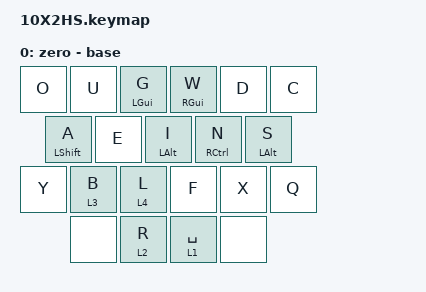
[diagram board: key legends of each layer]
#include <behaviors.dtsi>
#include <dt-bindings/zmk/keys.h>
#include <dt-bindings/zmk/bt.h>
#include <dt-bindings/zmk/pointing.h>

#define ZMK_POINTING_DEFAULT_MOVE_VAL 1200  // default: 600
#define AS(keycode) &as LS(keycode) keycode   

/ {
	macros {
        	qu: qu {
            		compatible = "zmk,behavior-macro";
            		#binding-cells = <0>;
            		bindings
                	= <&macro_tap &kp Q &kp U>
                	;
        	};
		ps: ps {
            		compatible = "zmk,behavior-macro";
            		#binding-cells = <0>;
            		bindings
                	= <&macro_tap &kp P &kp S>
                	;
        	};
    	};
	behaviors {
		td0: tap_dance_parentheseseseses {
			compatible = "zmk,behavior-tap-dance";
			#binding-cells = <0>;
			tapping-term-ms = <225>;
			bindings = <&kp LPAR>, <&kp RPAR>;
		};
		td1: tap_dance_braces {
			compatible = "zmk,behavior-tap-dance";
			#binding-cells = <0>;
			tapping-term-ms = <225>;
			bindings = <&kp LBRC>,<&kp RBRC>;
		};
		td2: tap_dance_brackets {
			compatible = "zmk,behavior-tap-dance";
			#binding-cells = <0>;
			tapping-term-ms = <225>;
			bindings = <&kp LBKT>,<&kp RBKT>;
		};
		td3: tap_dance_tabesc {
			compatible = "zmk,behavior-tap-dance";
			#binding-cells = <0>;
			tapping-term-ms = <225>;
			bindings = <&kp TAB>,<&kp ESC>;
		};
		td4: tap_dance_cx {
			compatible = "zmk,behavior-tap-dance";
			#binding-cells = <0>;
			tapping-term-ms = <225>;
			bindings = <&kp C>,<&kp X>;
		};
		td5: tap_dance_fg {
			compatible = "zmk,behavior-tap-dance";
			#binding-cells = <0>;
			tapping-term-ms = <225>;
			bindings = <&kp F>,<&kp G>;
		};
		hml: home_row_mod_left {
            		compatible = "zmk,behavior-hold-tap";
            		#binding-cells = <2>;
            		flavor = "balanced";
            		require-prior-idle-ms = <100>;
            		tapping-term-ms = <250>;
            		quick-tap-ms = <175>;
            		bindings = <&kp>, <&kp>;
            		hold-trigger-key-positions = <3 4 5 10 11 12 13 16 17 20 21>; // List of keys on the right
            		hold-trigger-on-release;
        	};
        	hmr: home_row_mod_right {
            		compatible = "zmk,behavior-hold-tap";
            		#binding-cells = <2>;
            		flavor = "balanced";
            		require-prior-idle-ms = <100>;
            		tapping-term-ms = <250>;
            		quick-tap-ms = <175>;
            		bindings = <&kp>, <&kp>;
            		hold-trigger-key-positions = <0 1 2 6 7 8 9 14 15 18 19>; // List of keys on the left
            		hold-trigger-on-release;
        	};
		as: auto_shift {
            		compatible = "zmk,behavior-hold-tap";
            		#binding-cells = <2>;
            		tapping_term_ms = <175>;
            		quick_tap_ms = <0>;
            		flavor = "tap-preferred";
            		bindings = <&kp>, <&kp>;
        	};
		hw_soft_off: hw_soft_off {
            		compatible = "zmk,behavior-soft-off";
            		#binding-cells = <0>;
            		split-peripheral-off-on-press; // Turn peripheral off immediately for reliability
            		hold-time-ms = <1500>; // Only turn off if the key is held for 1.5 seconds or longer.
        	};
		fmt: fast_mod_tap {
        		compatible = "zmk,behavior-hold-tap";
            		#binding-cells = <2>;
            		flavor = "hold-preferred";
            		tapping-term-ms = <125>;
            		bindings = <&kp>, <&kp>;
            		display-name = "Fast Mod-Tap";
        	};
		mt: mod_tap {
            		tapping-term-ms = <200>;
        	};
	};
	keymap {
		compatible = "zmk,keymap";
		zero {
			display-name = "zero - base";
			bindings = <
				&kp O 				&kp U 	&hml LGUI G 		&hmr RGUI W		&kp D &kp C
				&hml LSHIFT A &kp E 	&hml LALT I 		&hmr RCTRL N	&hmr LALT S
				&kp Y &lt 3 B &lt 4 L &kp F						&kp X					&kp Q		 
				                       &none &lt 2 R		&lt 1 SPACE &none
			>;
		};
	};
};

/ {
	combos {
		compatible = "zmk,combos";

// game combos
		combo_1_game {
			timeout-ms = <90>;
			key-positions = <0 19>;
			bindings = <&kp N1>;
			layers = <7 9>;
		};
		combo_3_game {
			timeout-ms = <90>;
			key-positions = <2 19>;
			bindings = <&kp N3>;
			layers = <7 9>;
		};
		combo_4_game {
			timeout-ms = <90>;
			key-positions = <7 9>;
			bindings = <&kp N4>;
			layers = <7>;
		};
		combo_b_game {
			timeout-ms = <90>;
			key-positions = <14 15>;
			bindings = <&kp B>;
			layers = <7 8 9>;
		};
		combo_k_game {
			timeout-ms = <90>;
			key-positions = <6 19>;
			bindings = <&kp K>;
			layers = <7 8 9>;
		};
		combo_y_game {
			timeout-ms = <90>;
			key-positions = <6 19>;
			bindings = <&kp Y>;
			layers = <8>;
		};
// keyboard functions
		combo_bt_one {
			timeout-ms = <50>;
			key-positions = <6 7 8 9>;
			bindings = <&bt BT_SEL 0>;
			layers = <0>;
		};
		combo_bt_two {
			timeout-ms = <50>;
			key-positions = <10 11 12 13>;
			bindings = <&bt BT_SEL 1>;
			layers = <0>;
		};
		combo_mouse_layer {
			timeout-ms = <50>;
			key-positions = <19 20>;
			bindings = <&to 3>;
			layers = <0>;
		};
		combo_val_layer {
			timeout-ms = <50>;
			key-positions = <7 8 9>;
			bindings = <&to 7>;
			layers = <0>;
		};
		combo_qwer_layer {
			timeout-ms = <50>;
			key-positions = <6 7 9>;
			bindings = <&to 8>;
			layers = <0>;
		};
		combo_apex_layer {
			timeout-ms = <50>;
			key-positions = <1 7 9>;
			bindings = <&to 9>;
			layers = <0>;
		};
		combo_default_layer {
			timeout-ms = <50>;
			key-positions = <8 9 10 11>;
			bindings = <&to 0>;
		};
// mod keys
		combo_del {
			timeout-ms = <50>;
			key-positions = <6 7>;
			bindings = <&kp DEL>;
			layers = <0 1 2>;
		};
		combo_tab {
			timeout-ms = <50>;
			key-positions = <0 2>;
			bindings = <&kp TAB>;
		};
		combo_esc {
			timeout-ms = <50>;
			key-positions = <3 5>;
			bindings = <&kp ESC>;
		};
		combo_backspace {
			timeout-ms = <50>;
			key-positions = <12 13>;
			bindings = <&kp BSPC>;
			layers = <0 1 2>;
		};
		combo_enter {
			timeout-ms = <50>;
			key-positions = <9 10>;
			bindings = <&kp ENTER>;
			layers = <0 1 2>;
		};
		combo_capsword {
			timeout-ms = <50>;
			key-positions = <6 13>;
			bindings = <&caps_word>;
			layers = <0>;
		};

// arrow keys
		combo_up {
			timeout-ms = <50>;
			key-positions = <8 11>;
			bindings = <&kp UP>;
		};
		combo_left {
			timeout-ms = <50>;
			key-positions = <7 10>;
			bindings = <&kp LEFT>;
		};
		combo_down {
			timeout-ms = <50>;
			key-positions = <14 17>;
			bindings = <&kp DOWN>;
		};
		combo_right {
			timeout-ms = <50>;
			key-positions = <9 12>;
			bindings = <&kp RIGHT>;
		};
// symbol keys
		combo_grave {
			timeout-ms = <50>;
			key-positions = <3 4>;
			bindings = <AS(GRAVE)>;
			layers = <1>;
		};
		combo_equal {
			timeout-ms = <50>;
			key-positions = <10 11>;
			bindings = <AS(EQUAL)>;
			layers = <1>;
		};
		combo_bslh {
			timeout-ms = <50>;
			key-positions = <16 17>;
			bindings = <AS(BSLH)>;
			layers = <1>;
		};
// alpha keys
		combo_qu {
			timeout-ms = <50>;
			key-positions = <4 5>;
			bindings = <&qu>;
			layers = <0>;
		};
		combo_ps {
			timeout-ms = <50>;
			key-positions = <3 11>;
			bindings = <&ps>;
			layers = <0>;
		};
		combo_k {
			timeout-ms = <50>;
			key-positions = <11 12>;
			bindings = <&kp K>;
			layers = <0>;
		};
		combo_j {
			timeout-ms = <50>;
			key-positions = <1 2>;
			bindings = <&kp J>;
			layers = <0>;
		};
		combo_z {
			timeout-ms = <50>;
			key-positions = <7 8>;
			bindings = <&kp Z>;
			layers = <0>;
		};
		combo_v {
			timeout-ms = <50>;
			key-positions = <14 15>;
			bindings = <&kp V>;
			layers = <0>;
		};
		combo_p {
			timeout-ms = <50>;
			key-positions = <3 4>;
			bindings = <&kp P>;
			layers = <0>;
		};
		combo_placeholder {
			timeout-ms = <50>;
			key-positions = <0 1>;
			bindings = <&none>;
			layers = <0>;
		};
		combo_x {
			timeout-ms = <50>;
			key-positions = <16 17>;
			bindings = <&kp X>;
			layers = <0>;
		};
	};
};



